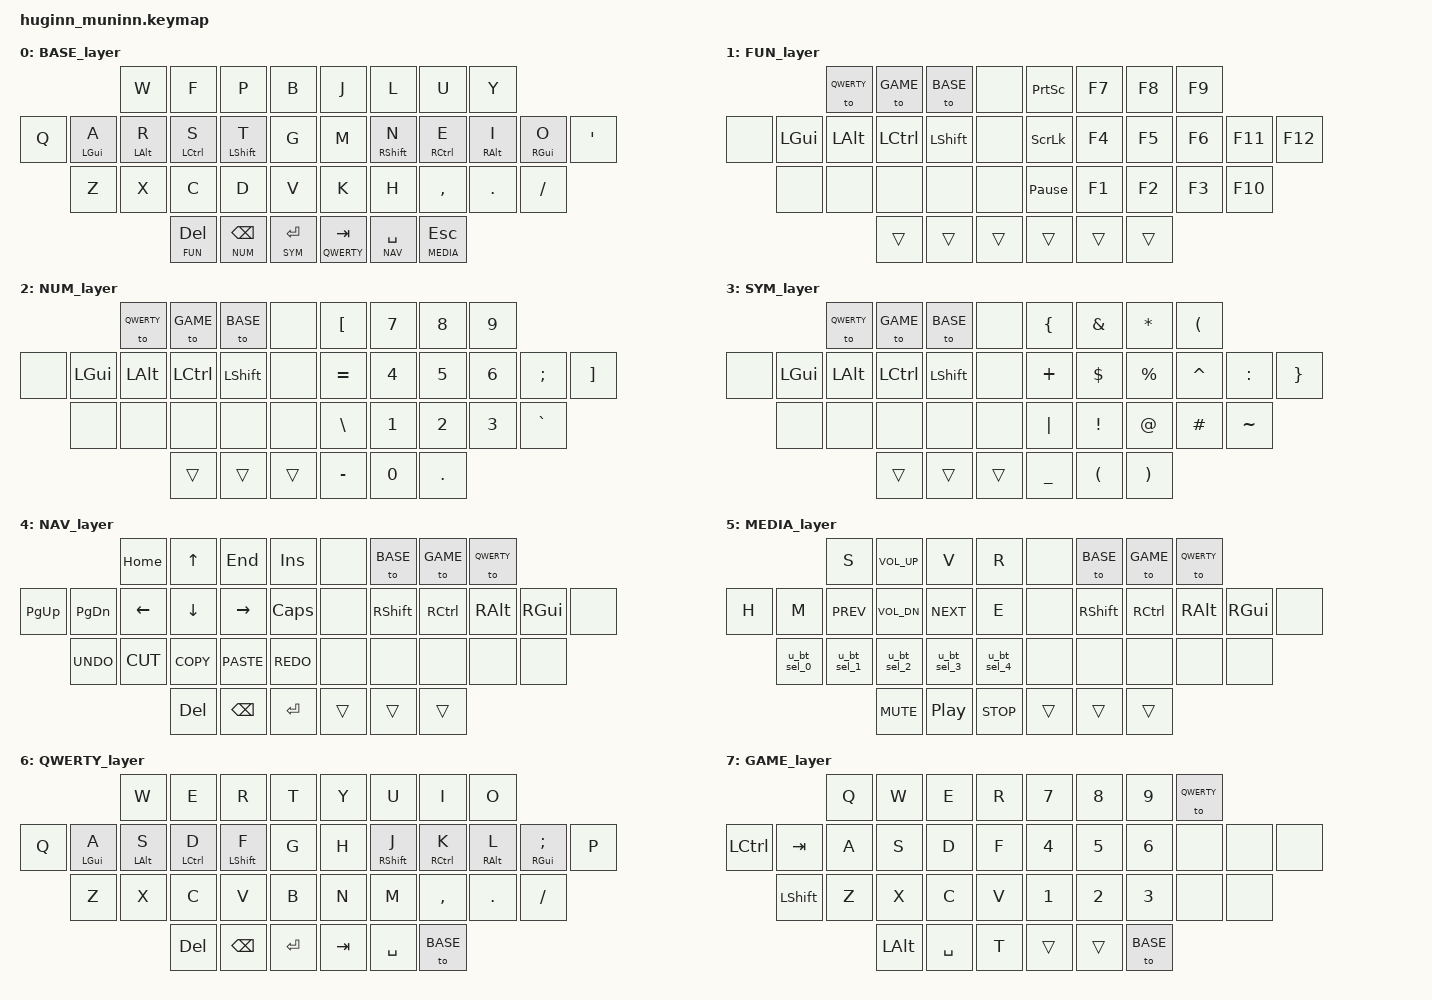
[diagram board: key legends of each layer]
/*
* Copyright (c) 2022 The ZMK Contributors
*
* SPDX-License-Identifier: MIT
*/

#include <behaviors.dtsi>
#include <dt-bindings/zmk/keys.h>
#include <dt-bindings/zmk/bt.h>
#include <dt-bindings/zmk/mouse.h>

#define U_MACRO_VA_ARGS(macro, ...) macro(__VA_ARGS__)
#define U_STRINGIFY(x) #x
#define U_MACRO(name,...) \
/ { \
  macros { \
    name: name { \
      label = U_STRINGIFY(ZM_ ## name); \
      compatible = "zmk,behavior-macro"; \
      #binding-cells = <0>; \
      __VA_ARGS__ \
    }; \
  }; \
};

#define MIRYOKU_SHIFT_FUNCTION(NAME, BINDING, SHIFT_BINDING) \
/ { \
  behaviors { \
    NAME: NAME { \
      compatible = "zmk,behavior-mod-morph"; \
      label = U_STRINGIFY(NAME); \
      #binding-cells = <0>; \
      bindings = <BINDING>, <SHIFT_BINDING>; \
      mods = <(MOD_LSFT|MOD_RSFT)>; \
    }; \
  }; \
};

#define MIRYOKU_SHIFT_MACRO(NAME, BINDING, SHIFT_BINDING) \
U_MACRO(u_macro_ ## NAME, wait-ms = <0>; bindings = <SHIFT_BINDING>;) \
MIRYOKU_SHIFT_FUNCTION(NAME, BINDING, &u_macro_ ## NAME)

MIRYOKU_SHIFT_MACRO(u_bt_sel_0, &bt BT_SEL 0, &bt BT_SEL 0 &bt BT_CLR)
MIRYOKU_SHIFT_MACRO(u_bt_sel_1, &bt BT_SEL 1, &bt BT_SEL 1 &bt BT_CLR)
MIRYOKU_SHIFT_MACRO(u_bt_sel_2, &bt BT_SEL 2, &bt BT_SEL 2 &bt BT_CLR)
MIRYOKU_SHIFT_MACRO(u_bt_sel_3, &bt BT_SEL 3, &bt BT_SEL 3 &bt BT_CLR)
MIRYOKU_SHIFT_MACRO(u_bt_sel_4, &bt BT_SEL 4, &bt BT_SEL 4 &bt BT_CLR)


#define ZMK_MOUSE_DEFAULT_MOVE_VAL 1250
#define ZMK_MOUSE_DEFAULT_SCRL_VAL 100

#define U_MOUSE_MOVE_EXPONENT 1
#define U_MOUSE_MOVE_TIME 1500
#define U_MOUSE_MOVE_DELAY 0
#define U_MOUSE_SCROLL_EXPONENT 1
#define U_MOUSE_SCROLL_TIME 5000
#define U_MOUSE_SCROLL_DELAY 0

#define U_RDO &kp LC(Y)
#define U_PST &kp LC(V)
#define U_CPY &kp LC(C)
#define U_CUT &kp LC(X)
#define U_UND &kp LC(Z)

#define BASE 0
#define FUN 1
#define NUM 2
#define SYM 3
//#define MOUSE 4
#define NAV 4
#define MEDIA 5
#define QWERTY 6
#define GAME 7

&mt {
    flavor = "tap-preferred";
    tapping-term-ms = <200>;
};

/ {

    keymap {
        compatible = "zmk,keymap";

// BASE 0
        BASE_layer {
            bindings = <
                            &kp W       &kp F        &kp P        &kp B            &kp J     &kp L        &kp U        &kp Y
          &kp Q &mt LGUI A  &mt LALT R  &mt LCTRL S  &mt LSHFT T  &kp G            &kp M     &mt RSHFT N  &mt RCTRL E  &mt RALT I  &mt RGUI O  &kp SQT
                &kp Z       &kp X       &kp C        &kp D        &kp V            &kp K     &kp H        &kp COMMA    &kp DOT     &kp FSLH
                                     &lt FUN DEL  &lt NUM BSPC  &lt SYM RET     &lt QWERTY TAB  &lt NAV SPACE  &lt MEDIA ESC 
            >;
        };

// FUN 1
        FUN_layer {
            bindings = <
                            &to QWERTY  &to GAME    &to BASE    &none              &kp PSCRN        &kp F7      &kp F8      &kp F9
      &none     &kp LGUI    &kp LALT    &kp LCTRL   &kp LSHFT   &none              &kp SLCK         &kp F4      &kp F5      &kp F6     &kp F11    &kp F12
                &none       &none       &none       &none       &none              &kp PAUSE_BREAK  &kp F1      &kp F2      &kp F3     &kp F10
                                            &trans     &trans     &trans        &trans      &trans      &trans
            >;
        };

// NUM 2
        NUM_layer {
            bindings = <
                            &to QWERTY  &to GAME    &to BASE    &none              &kp LBKT         &kp N7       &kp N8       &kp N9
      &none     &kp LGUI    &kp LALT    &kp LCTRL   &kp LSHFT   &none              &kp EQUAL        &kp N4       &kp N5       &kp N6      &kp SEMI   &kp RBKT
                &none       &none       &none       &none       &none              &kp BSLH         &kp N1       &kp N2       &kp N3      &kp GRAVE
                                            &trans     &trans     &trans        &kp MINUS      &kp N0      &kp DOT
            >;
        };

// SYM 3
        SYM_layer {
            bindings = <
                            &to QWERTY  &to GAME    &to BASE    &none              &kp LBRC         &kp AMPS    &kp ASTRK   &kp LPAR
      &none     &kp LGUI    &kp LALT    &kp LCTRL   &kp LSHFT   &none              &kp PLUS         &kp DLLR    &kp PRCNT   &kp CARET  &kp COLON  &kp RBRC
                &none       &none       &none       &none       &none              &kp PIPE         &kp EXCL    &kp AT      &kp HASH   &kp TILDE
                                            &trans     &trans     &trans        &kp UNDER      &kp LPAR      &kp RPAR
            >;
        };
/*
// MOUSE 4
        MOUSE_layer {
            bindings = <
                                  &msc SCRL_LEFT   &mmv MOVE_UP    &msc SCRL_RIGHT  &none              &none            &to BASE    &to GAME    &to QWERTY
    &msc SCRL_UP  &msc SCRL_DOWN  &mmv MOVE_LEFT   &mmv MOVE_DOWN  &mmv MOVE_RIGHT  &none              &none            &kp RSHFT   &kp RCTRL   &kp RALT    &kp RGUI   &none
                  &kp U_UND       &kp U_CUT        &kp U_CPY       &kp U_PST        &kp U_RDO          &none            &none       &none       &none      &none
                                                          &mkp MB3     &mkp MB1     &mkp MB2        &trans         &trans        &trans
            >;
        };
*/
// NAV 5
        NAV_layer {
            bindings = <
                             &kp HOME    &kp UP      &kp END     &kp INS            &none            &to BASE    &to GAME    &to QWERTY
      &kp PG_UP  &kp PG_DN   &kp LEFT    &kp DOWN    &kp RIGHT   &kp CAPS           &none            &kp RSHFT   &kp RCTRL   &kp RALT    &kp RGUI   &none
                 &kp K_UNDO  &kp K_CUT   &kp K_COPY  &kp K_PASTE &kp K_REDO         &none            &none       &none       &none       &none
                                            &kp DEL    &kp BSPC   &kp RET        &trans         &trans        &trans
            >;
        };

// MEDIA 6
        MEDIA_layer {
            bindings = <
                              &kp S        &kp C_VOL_UP  &kp V        &kp R                 &none            &to BASE    &to GAME    &to QWERTY
      &kp H      &kp M        &kp C_PREV   &kp C_VOL_DN  &kp C_NEXT   &kp E                 &none            &kp RSHFT   &kp RCTRL   &kp RALT    &kp RGUI   &none
                 &u_bt_sel_0  &u_bt_sel_1  &u_bt_sel_2   &u_bt_sel_3  &u_bt_sel_4            &none            &none       &none       &none      &none
                                            &kp C_MUTE   &kp C_PP  &kp C_STOP      &trans         &trans        &trans
            >;
        };

// QWERTY 7
        QWERTY_layer {
            bindings = <
                            &kp W       &kp E        &kp R        &kp T            &kp Y     &kp U        &kp I        &kp O
          &kp Q &mt LGUI A  &mt LALT S  &mt LCTRL D  &mt LSHFT F  &kp G            &kp H     &mt RSHFT J  &mt RCTRL K  &mt RALT L  &mt RGUI SEMI  &kp P
                &kp Z       &kp X       &kp C        &kp V        &kp B            &kp N     &kp M        &kp COMMA    &kp DOT     &kp FSLH
                                            &kp DEL    &kp BSPC    &kp RET     &kp TAB     &kp SPACE  &to BASE
            >;
        };

// GAME 8
        GAME_layer {
            bindings = <
                             &kp Q       &kp W       &kp E     &kp R                &kp N7            &kp N8       &kp N9       &to QWERTY
      &kp LCTRL  &kp TAB     &kp A       &kp S       &kp D     &kp F                &kp N4            &kp N5       &kp N6       &none      &none  &none
                 &kp LSHFT   &kp Z       &kp X       &kp C     &kp V                &kp N1            &kp N2       &kp N3       &none      &none
                                            &kp LALT   &kp SPACE  &kp T        &trans         &trans        &to BASE
            >;
        };
    };
};
